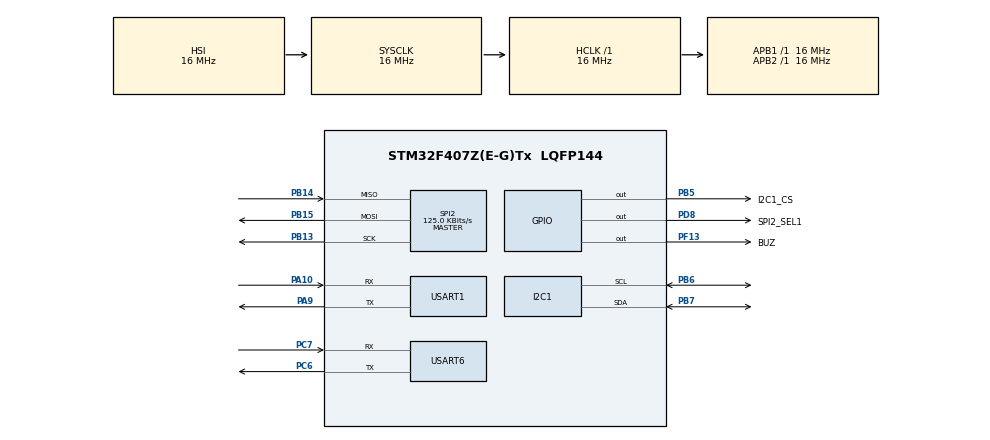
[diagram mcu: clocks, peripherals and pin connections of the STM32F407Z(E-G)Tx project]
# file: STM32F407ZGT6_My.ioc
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Dma.Request0=USART1_TX
Dma.Request1=USART1_RX
Dma.USART1_RX.1.Direction=DMA_PERIPH_TO_MEMORY
Dma.USART1_RX.1.FIFOMode=DMA_FIFOMODE_DISABLE
Dma.USART1_RX.1.Instance=DMA2_Stream5
Dma.USART1_RX.1.MemDataAlignment=DMA_MDATAALIGN_BYTE
Dma.USART1_RX.1.MemInc=DMA_MINC_ENABLE
Dma.USART1_RX.1.Mode=DMA_NORMAL
Dma.USART1_RX.1.PeriphDataAlignment=DMA_PDATAALIGN_BYTE
Dma.USART1_RX.1.PeriphInc=DMA_PINC_DISABLE
Dma.USART1_RX.1.Priority=DMA_PRIORITY_LOW
Dma.USART1_TX.0.Direction=DMA_MEMORY_TO_PERIPH
Dma.USART1_TX.0.FIFOMode=DMA_FIFOMODE_DISABLE
Dma.USART1_TX.0.Instance=DMA2_Stream7
Dma.USART1_TX.0.MemDataAlignment=DMA_MDATAALIGN_BYTE
Dma.USART1_TX.0.MemInc=DMA_MINC_ENABLE
Dma.USART1_TX.0.Mode=DMA_NORMAL
Dma.USART1_TX.0.PeriphDataAlignment=DMA_PDATAALIGN_BYTE
Dma.USART1_TX.0.PeriphInc=DMA_PINC_DISABLE
Dma.USART1_TX.0.Priority=DMA_PRIORITY_LOW
Mcu.Family=STM32F4
Mcu.Name=STM32F407Z(E-G)Tx
Mcu.Package=LQFP144
NVIC.DMA2_Stream5_IRQn=true\:0\:0\:false\:false\:true\:false\:true\:true
NVIC.DMA2_Stream7_IRQn=true\:0\:0\:false\:false\:true\:false\:true\:true
NVIC.PriorityGroup=NVIC_PRIORITYGROUP_4
NVIC.USART1_IRQn=true\:0\:0\:false\:false\:true\:true\:true\:true
PA10.Mode=Asynchronous
PA10.Signal=USART1_RX
PA13.Mode=Serial_Wire
PA13.Signal=SYS_JTMS-SWDIO
PA14.Mode=Serial_Wire
PA14.Signal=SYS_JTCK-SWCLK
PA9.Mode=Asynchronous
PA9.Signal=USART1_TX
PB13.Mode=Full_Duplex_Master
PB13.Signal=SPI2_SCK
PB14.Mode=Full_Duplex_Master
PB14.Signal=SPI2_MISO
PB15.Mode=Full_Duplex_Master
PB15.Signal=SPI2_MOSI
PB5.GPIO_Label=I2C1_CS
PB5.GPIO_ModeDefaultOutputPP=GPIO_MODE_OUTPUT_PP
PB5.GPIO_PuPd=GPIO_PULLDOWN
PB5.Signal=GPIO_Output
PB6.Mode=I2C
PB6.Signal=I2C1_SCL
PB7.Mode=I2C
PB7.Signal=I2C1_SDA
PC6.Mode=Asynchronous
PC6.Signal=USART6_TX
PC7.Mode=Asynchronous
PC7.Signal=USART6_RX
PD8.GPIO_Label=SPI2_SEL1
PD8.GPIO_PuPd=GPIO_PULLDOWN
PD8.Signal=GPIO_Output
PF13.GPIO_Label=BUZ
PF13.GPIO_PuPd=GPIO_NOPULL
PF13.Signal=GPIO_Output
PH0-OSC_IN.Mode=HSE-External-Oscillator
PH0-OSC_IN.Signal=RCC_OSC_IN
PH1-OSC_OUT.Mode=HSE-External-Oscillator
PH1-OSC_OUT.Signal=RCC_OSC_OUT
ProjectManager.HeapSize=0x200
ProjectManager.StackSize=0x400
ProjectManager.TargetToolchain=STM32CubeIDE
RCC.AHBFreq_Value=16000000
RCC.APB1Freq_Value=16000000
RCC.APB2Freq_Value=16000000
RCC.CortexFreq_Value=16000000
RCC.HSE_VALUE=25000000
RCC.HSI_VALUE=16000000
RCC.LSE_VALUE=32768
RCC.SYSCLKFreq_VALUE=16000000
RCC.VCOOutputFreq_Value=192000000
SPI2.BaudRatePrescaler=SPI_BAUDRATEPRESCALER_128
SPI2.CalculateBaudRate=125.0 KBits/s
SPI2.Direction=SPI_DIRECTION_2LINES
SPI2.Mode=SPI_MODE_MASTER
SPI2.VirtualType=VM_MASTER
USART1.VirtualMode=VM_ASYNC
USART6.VirtualMode=VM_ASYNC
board=custom

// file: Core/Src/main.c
/* USER CODE BEGIN Header */
/**
  ******************************************************************************
  * @file           : main.c
  * @brief          : Main program body
  ******************************************************************************
  * @attention
  *
  * Copyright (c) 2025 STMicroelectronics.
  * All rights reserved.
  *
  * This software is licensed under terms that can be found in the LICENSE file
  * in the root directory of this software component.
  * If no LICENSE file comes with this software, it is provided AS-IS.
  *
  ******************************************************************************
  */
/* USER CODE END Header */
#include <SoftwareCheck.h>
#include "main.h"
#include "dma.h"
#include "i2c.h"
#include "spi.h"
#include "usart.h"
#include "gpio.h"

/* USER CODE BEGIN Includes */
#include "Protocolprocessing.h"
#include "AT24C02.h"
/* USER CODE END Includes */

/* USER CODE BEGIN PV */
uint8_t uart_flag = 0;

/* USER CODE END PV */

void SystemClock_Config(void);

/* USER CODE BEGIN 0 */
int __io_putchar(int ch)
{
	HAL_UART_Transmit(&huart1,(uint8_t*)&ch, 1, 0xFFFF);
	return ch;
}

void HAL_GPIO_EXTI_Callback(uint16_t GPIO_Pin)
{
	if(HAL_GPIO_ReadPin(GPIOA,GPIO_PIN_0) == GPIO_PIN_SET)
	{
		for(int temp = 65536*50;temp != 0;temp--);
		HAL_GPIO_TogglePin(GPIOA,GPIO_PIN_2);
	}
}

void HAL_UARTEx_RxEventCallback(UART_HandleTypeDef *huart, uint16_t Size)
{
    if (huart == &huart1)
    {
    	rx_num = Size;
    	uart_flag = 1;
        HAL_UARTEx_ReceiveToIdle_DMA(&huart1,rx_buffer,BUF_SIZE);
        __HAL_DMA_DISABLE_IT(&hdma_usart1_rx,DMA_IT_HT);
    }
}

/* USER CODE END 0 */

int main(void)
{

  /* MCU Configuration--------------------------------------------------------*/

  /* Reset of all peripherals, Initializes the Flash interface and the Systick. */
  HAL_Init();

  /* Configure the system clock */
  SystemClock_Config();

  /* Initialize all configured peripherals */
  MX_GPIO_Init();
  MX_DMA_Init();
  MX_USART1_UART_Init();
  MX_SPI2_Init();
  MX_USART6_UART_Init();
  MX_I2C1_Init();
  /* USER CODE BEGIN 2 */
  HAL_UARTEx_ReceiveToIdle_DMA(&huart1,rx_buffer,BUF_SIZE);

  	HAL_GPIO_WritePin(I2C1_CS_GPIO_Port,I2C1_CS_Pin,GPIO_PIN_SET);
  	write_fault_header();

  	HAL_GPIO_WritePin(GPIOD,GPIO_PIN_8,GPIO_PIN_SET);
  	DDSend(1,100,6,150);
  	printf("dds send\r\n");
  /* USER CODE END 2 */

  /* Infinite loop */
  while (1)
  {

    /* USER CODE BEGIN 3 */
	  HAL_GPIO_TogglePin(GPIOF,GPIO_PIN_13);
	  HAL_Delay(500);
//	  printf("dds test\r\n");
//	  HAL_Delay(1000);
//	  DDSend(1,1000000,6,150);
//	  HAL_Delay(1000);

//	  DACAI_SEND(SwitchScreen,0);
//	  HAL_Delay(1000);
//	  DACAI_SEND(SwitchScreen,1);
//	  HAL_Delay(1000);
//	  DACAI_SEND(SwitchScreen,2);
//	  HAL_Delay(1000);
//	  DACAI_SEND(SwitchScreen,3);

	  if(uart_flag == 1)
	  {
		  uart_flag = 0;
		  PConectProcess();
	  }

  }
  /* USER CODE END 3 */
}

void SystemClock_Config(void)
{
  RCC_OscInitTypeDef RCC_OscInitStruct = {0};
  RCC_ClkInitTypeDef RCC_ClkInitStruct = {0};

  /** Configure the main internal regulator output voltage
  */
  __HAL_RCC_PWR_CLK_ENABLE();
  __HAL_PWR_VOLTAGESCALING_CONFIG(PWR_REGULATOR_VOLTAGE_SCALE1);

  /** Initializes the RCC Oscillators according to the specified parameters
  * in the RCC_OscInitTypeDef structure.
  */
  RCC_OscInitStruct.OscillatorType = RCC_OSCILLATORTYPE_HSI;
  RCC_OscInitStruct.HSIState = RCC_HSI_ON;
  RCC_OscInitStruct.HSICalibrationValue = RCC_HSICALIBRATION_DEFAULT;
  RCC_OscInitStruct.PLL.PLLState = RCC_PLL_NONE;
  if (HAL_RCC_OscConfig(&RCC_OscInitStruct) != HAL_OK)
  {
    Error_Handler();
  }

  /** Initializes the CPU, AHB and APB buses clocks
  */
  RCC_ClkInitStruct.ClockType = RCC_CLOCKTYPE_HCLK|RCC_CLOCKTYPE_SYSCLK
                              |RCC_CLOCKTYPE_PCLK1|RCC_CLOCKTYPE_PCLK2;
  RCC_ClkInitStruct.SYSCLKSource = RCC_SYSCLKSOURCE_HSI;
  RCC_ClkInitStruct.AHBCLKDivider = RCC_SYSCLK_DIV1;
  RCC_ClkInitStruct.APB1CLKDivider = RCC_HCLK_DIV1;
  RCC_ClkInitStruct.APB2CLKDivider = RCC_HCLK_DIV1;

  if (HAL_RCC_ClockConfig(&RCC_ClkInitStruct, FLASH_LATENCY_0) != HAL_OK)
  {
    Error_Handler();
  }
}

void Error_Handler(void)
{
  __disable_irq();
  while (1)
  {
  }
}
